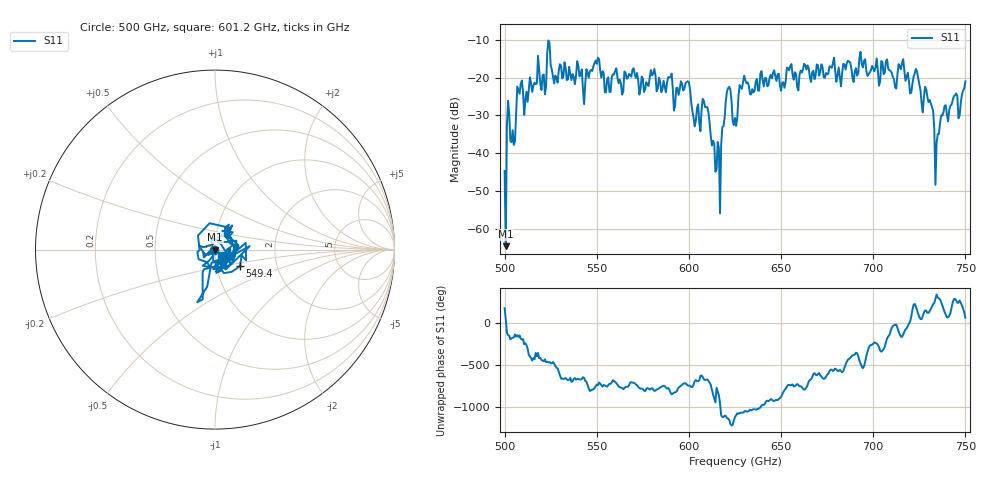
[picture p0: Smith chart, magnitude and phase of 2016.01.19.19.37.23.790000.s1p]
!Created with skrf (http://scikit-rf.org).
# GHz S RI R 50.0
!freq ReS11 ImS11
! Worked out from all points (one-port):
!   401 points, 500 GHz to 750 GHz, reference 50 ohm
!   lowest |S11| = -64.7 dB at 500.6 GHz (marker M1), VSWR 1.00, Z = 50 + j0.0417 ohm
!   |S11| at or under -10 dB: start of sweep to end of sweep
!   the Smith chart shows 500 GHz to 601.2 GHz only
!   S11 on the Smith chart (normalised r, x): 500 GHz: 0.99, +0.00; 549.4 GHz: 1.30, -0.25; 601.2 GHz: 1.07, -0.07
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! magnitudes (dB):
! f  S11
! 500 GHz  -44.7
! 500.6 GHz  -64.7
! 502.5 GHz  -29.5
! 504.4 GHz  -34.0
! 508.1 GHz  -24.3
! 521.2 GHz  -19.2
! 524.4 GHz  -10.9
! 527.5 GHz  -19.5
! 531.2 GHz  -20.2
! 543.8 GHz  -21.6
! 549.4 GHz  -15.5
! 562.5 GHz  -20.6
! 580.6 GHz  -19.0
! 593.8 GHz  -22.7
! 599.4 GHz  -21.0
! 601.2 GHz  -26.6
! 609.4 GHz  -27.9
! 615.6 GHz  -37.1
! 621.2 GHz  -22.8
! 625 GHz  -30.7
! 630.6 GHz  -20.8
! 656.2 GHz  -19.3
! 687.5 GHz  -16.0
! 718.8 GHz  -18.7
! 729.4 GHz  -25.1
! 734.4 GHz  -37.4
! 738.1 GHz  -29.2
! 750 GHz  -21.0
